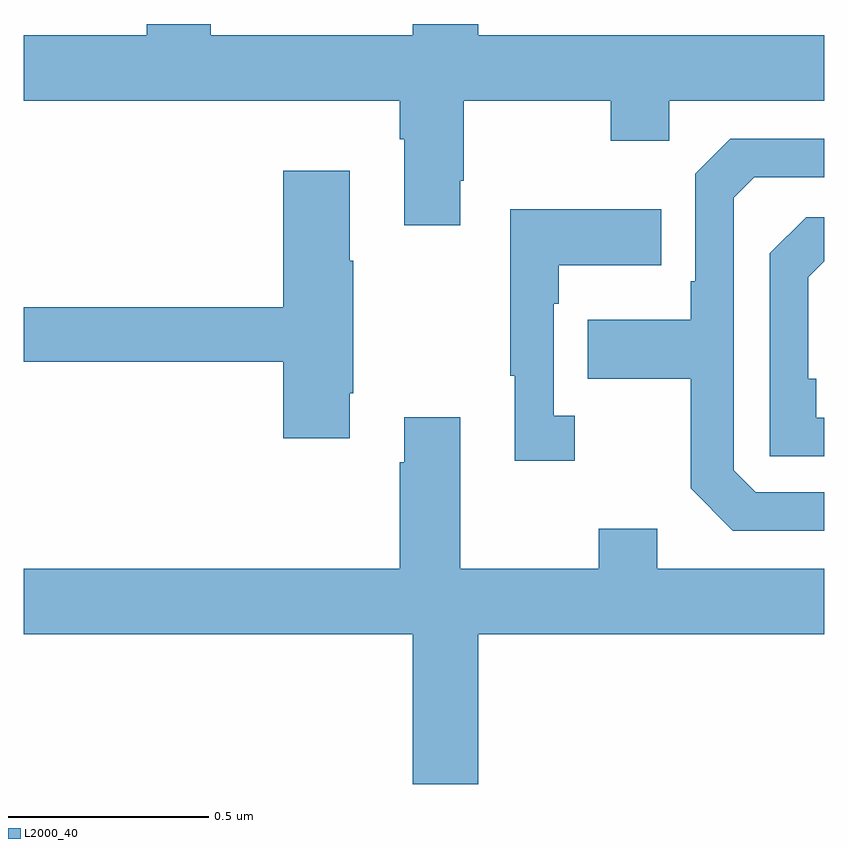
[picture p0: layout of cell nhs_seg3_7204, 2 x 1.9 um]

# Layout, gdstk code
import gdstk
lib = gdstk.Library(unit=1e-6, precision=1e-09)
def P(c, l, *ps):  # polygons
    for p in ps: c.add(gdstk.Polygon(p, *l))
L2000_40 = (2000, 40)

nhs_seg3_7204 = lib.new_cell('nhs_seg3_7204')
P(nhs_seg3_7204, L2000_40, [(201.091,742.009),(201.099,742.009),(201.099,742.208),(201.466,742.208),(201.466,742.109),(201.612,742.109),(201.612,742.208),(202,742.208),(202,742.372),(201.136,742.372),(201.136,742.4),(200.972,742.4),(200.972,742.372),(200.468,742.372),(200.468,742.4),(200.308,742.4),(200.308,742.372),(200,742.372),(200,742.208),(200.939,742.208),(200.939,742.112),(200.951,742.112),(200.951,741.897),(201.091,741.897)],
  [(202,741.231),(201.828,741.231),(201.774,741.285),(201.774,741.966),(201.825,742.017),(202,742.017),(202,742.113),(201.765,742.113),(201.678,742.026),(201.678,741.757),(201.666,741.757),(201.666,741.661),(201.409,741.661),(201.409,741.514),(201.666,741.514),(201.666,741.241),(201.771,741.135),(202,741.135)],
  [(200.815,741.478),(200.823,741.478),(200.823,741.809),(200.815,741.809),(200.815,742.033),(200.648,742.033),(200.648,741.692),(200,741.692),(200,741.556),(200.648,741.556),(200.648,741.366),(200.815,741.366)],
  [(201.376,741.422),(201.324,741.422),(201.324,741.701),(201.337,741.701),(201.337,741.797),(201.593,741.797),(201.593,741.937),(201.216,741.937),(201.216,741.521),(201.227,741.521),(201.227,741.309),(201.376,741.309)],
  [(202,741.417),(201.98,741.417),(201.98,741.514),(201.96,741.514),(201.96,741.768),(202,741.808),(202,741.918),(201.954,741.918),(201.864,741.828),(201.864,741.321),(202,741.321)],
  [(201.136,740.876),(202,740.876),(202,741.04),(201.583,741.04),(201.583,741.139),(201.436,741.139),(201.436,741.04),(201.091,741.04),(201.091,741.418),(200.951,741.418),(200.951,741.305),(200.939,741.305),(200.939,741.04),(200,741.04),(200,740.876),(200.972,740.876),(200.972,740.502),(201.136,740.502)])

lib.write_gds('nhs_seg3_7204.gds')
